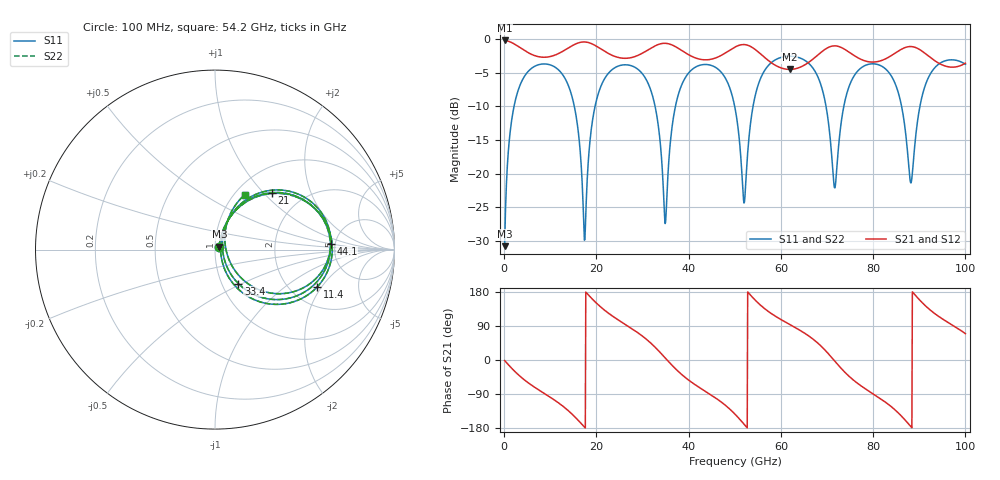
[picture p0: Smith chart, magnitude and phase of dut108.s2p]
! Touchstone file exported from HFSS 2026.1.0
!  File:  C:/ffzhzh/LocalFiles/Ansys_Project_Files/temp_train_TSV_RDL_108_1783634381_26216.aedt
!  Generated:  06:13:05 AM Jul 10, 2026
!  Design:  TSV_RDL
!  Project:  temp_train_TSV_RDL_108_1783634381_26216
! Variables:
!  h_bsmrdl = 2.72um
!  h_ox = 20um
!  h_rdl = 5um
!  h_sub = 55.15um
!  h_tmrdl = 3.94um
!  h_tsv = 55.15um
!  h_via = 3um
!  l_bsmrdl = 313.71um
!  l_sub = 3619.49um
!  l_tmrdl = 548.38um
!  m_sub = 200um
!  pitch = 49.47um
!  r_tsv = 6.94um
!  s_tmrdl = 10um
!  w_bsmrdl = 14.33um
!  w_sub = 500um
!  w_tmrdl = 13.95um
!  x_tsv_center1 = 555.355um
!  x_tsv_center2 = 883.395um
!  x_tsv_center3 = 1445.725um
!  x_tsv_center4 = 1773.765um
!  x_tsv_center5 = 2336.095um
!  x_tsv_center6 = 2664.135um
# GHz S MA R 50.000000
! Terminal data exported
! Port[1] = TM_RDL1_1_T1
! Port[2] = TM_RDL5_1_T1
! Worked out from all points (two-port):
!   1000 points, 100 MHz to 100 GHz, reference 50 ohm
!   highest |S21| = -0.21 dB at 100 MHz (marker M1); lowest = -4.5 dB at 61.9 GHz (marker M2)
!   |S21| within 3 dB of the highest: start of sweep to 57.32 GHz; 81.73 GHz to 93.35 GHz (11.62 GHz wide, 13.3 % of centre) (the widest 2 of 3)
!   lowest |S11| = -30.8 dB at 100 MHz (marker M3), VSWR 1.06, Z = 52.4 + j1.69 ohm
!   |S11| at or under -10 dB: 15.21 GHz to 19.7 GHz (4.491 GHz wide, 25.7 % of centre); 32.72 GHz to 37.14 GHz (4.412 GHz wide, 12.6 % of centre); 49.98 GHz to 53.96 GHz (3.979 GHz wide, 7.66 % of centre) (the widest 3 of 6)
!   |S22| runs from -30.8 to -2.5 dB; largest |S21 - S12| = 9.3e-13
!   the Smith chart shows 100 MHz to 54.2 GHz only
!   S11 on the Smith chart (normalised r, x): 100 MHz: 1.05, +0.03; 11.4 GHz: 2.76, -1.82; 21 GHz: 1.41, +1.12; 33.4 GHz: 1.20, -0.48; 44.1 GHz: 4.59, +0.51; 54.2 GHz: 1.12, +0.78
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0.1  0.02896 33.8  0.9762 -1.4  0.9762 -1.4  0.02896 33.8
! Gamma 0 0 0 0
! Port Impedance 50 0 50 0
3.1  0.4224 47.1  0.8792 -39.2  0.8792 -39.2  0.4224 47.1
11.4  0.6058 -20.2  0.7694 -109.8  0.7694 -109.8  0.6058 -20.2
16.8  0.1021 -62.6  0.9492 -168.9  0.9492 -168.9  0.1021 -62.7
17.6  0.03924 36.1  0.9509 -179.5  0.9509 -179.5  0.03912 36.3
21  0.4479 45.1  0.843 139.2  0.843 139.2  0.4479 45.1
27.1  0.6398 -3.0  0.7232 87.3  0.7232 87.3  0.6398 -3.0
33.4  0.2304 -55.4  0.9104 25.4  0.9104 25.4  0.2305 -55.4
35  0.04355 17.1  0.9295 4.4  0.9295 4.4  0.04359 17.0
37.9  0.4009 51.9  0.8474 -31.9  0.8474 -31.9  0.4009 51.9
44.1  0.646 2.9  0.7018 -86.4  0.7018 -86.4  0.646 2.8
50.1  0.3012 -44.2  0.8739 -143.6  0.8739 -143.6  0.3011 -44.2
52  0.06052 6.0  0.9102 -169.2  0.9102 -169.2  0.06011 5.9
54.2  0.3494 61.4  0.8478 160.9  0.8478 160.9  0.3493 61.4
61.9  0.7461 3.5  0.5948 93.8  0.5948 93.8  0.7461 3.5
66.7  0.624 -28.8  0.6988 57.6  0.6988 57.6  0.6241 -28.7
71.7  0.0784 1.0  0.8903 -3.2  0.8903 -3.2  0.0801 0.8
75.5  0.5061 33.4  0.7691 -50.7  0.7691 -50.7  0.5063 33.1
83.4  0.5654 -24.3  0.7345 -118.0  0.7345 -118.0  0.5653 -24.7
88.2  0.08539 5.8  0.8797 -176.0  0.8797 -176.0  0.08201 5.7
92  0.5189 38.9  0.7479 135.7  0.7479 135.7  0.5184 39.0
100  0.649 -17.4  0.6621 69.6  0.6621 69.6  0.6488 -17.5
